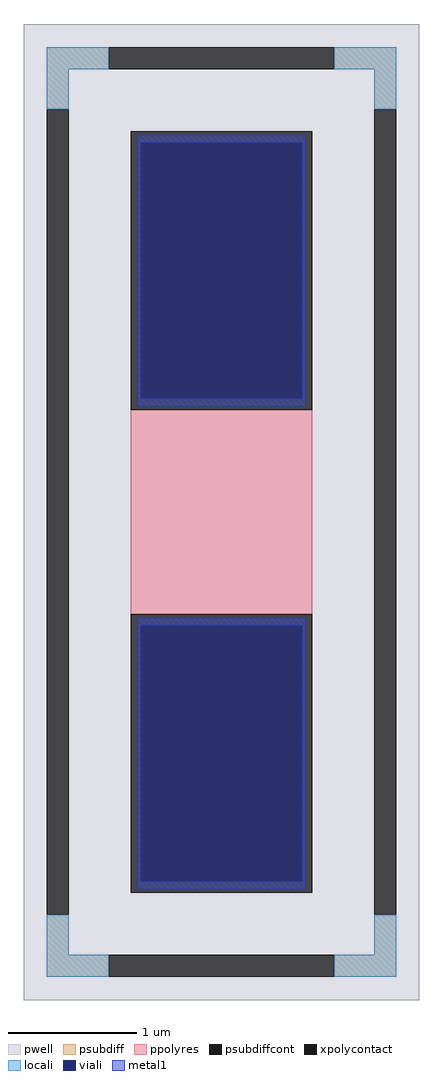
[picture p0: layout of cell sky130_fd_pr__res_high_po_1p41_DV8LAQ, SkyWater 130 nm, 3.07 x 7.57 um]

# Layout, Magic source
magic
tech sky130A
magscale 1 2
<< pwell >>
rect -307 -757 307 757
<< psubdiff >>
rect -271 687 -175 721
rect 175 687 271 721
rect -271 625 -237 687
rect 237 625 271 687
rect -271 -687 -237 -625
rect 237 -687 271 -625
rect -271 -721 -175 -687
rect 175 -721 271 -687
<< psubdiffcont >>
rect -175 687 175 721
rect -271 -625 -237 625
rect 237 -625 271 625
rect -175 -721 175 -687
<< xpolycontact >>
rect -141 159 141 591
rect -141 -591 141 -159
<< ppolyres >>
rect -141 -159 141 159
<< locali >>
rect -271 687 -175 721
rect 175 687 271 721
rect -271 625 -237 687
rect 237 625 271 687
rect -271 -687 -237 -625
rect 237 -687 271 -625
rect -271 -721 -175 -687
rect 175 -721 271 -687
<< viali >>
rect -125 176 125 573
rect -125 -573 125 -176
<< metal1 >>
rect -131 573 131 585
rect -131 176 -125 573
rect 125 176 131 573
rect -131 164 131 176
rect -131 -176 131 -164
rect -131 -573 -125 -176
rect 125 -573 131 -176
rect -131 -585 131 -573
<< properties >>
string FIXED_BBOX -254 -704 254 704
string gencell sky130_fd_pr__res_high_po_1p41
string library sky130
string parameters w 1.410 l 1.75 m 1 nx 1 wmin 1.410 lmin 0.50 rho 319.8 val 673.255 dummy 0 dw 0.0 term 194.82 sterm 0.0 caplen 0 guard 1 glc 1 grc 1 gtc 1 gbc 1 compatible {sky130_fd_pr__res_high_po_0p35  sky130_fd_pr__res_high_po_0p69 sky130_fd_pr__res_high_po_1p41  sky130_fd_pr__res_high_po_2p85 sky130_fd_pr__res_high_po_5p73} snake 0 full_metal 1 wmax 1.410 n_guard 0 hv_guard 0 vias 1 viagb 0 viagt 0 viagl 0 viagr 0
<< end >>
